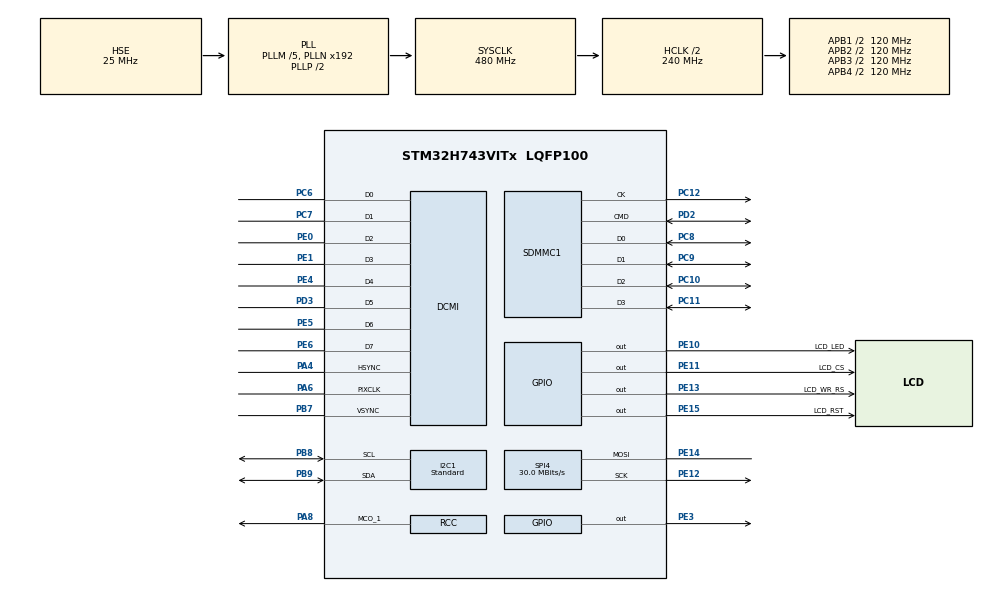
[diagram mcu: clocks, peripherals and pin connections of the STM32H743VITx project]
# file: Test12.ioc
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CORTEX_M7.AccessPermission_S-Cortex_Memory_Protection_Unit_Region1_Settings_S=MPU_REGION_FULL_ACCESS
CORTEX_M7.AccessPermission_Spec=MPU_REGION_FULL_ACCESS
CORTEX_M7.BaseAddress_S-Cortex_Memory_Protection_Unit_Region1_Settings_S=0x30000000
CORTEX_M7.BaseAddress_Spec=0x24000000
CORTEX_M7.DisableExec_Spec=MPU_INSTRUCTION_ACCESS_DISABLE
CORTEX_M7.Enable_S-Cortex_Memory_Protection_Unit_Region1_Settings_S=MPU_REGION_ENABLE
CORTEX_M7.Enable_S-Cortex_Memory_Protection_Unit_Region2_Settings_S=__NULL
CORTEX_M7.Enable_S-Cortex_Memory_Protection_Unit_Region3_Settings_S=__NULL
CORTEX_M7.Enable_S-Cortex_Memory_Protection_Unit_Region4_Settings_S=__NULL
CORTEX_M7.Enable_S-Cortex_Memory_Protection_Unit_Region5_Settings_S=__NULL
CORTEX_M7.Enable_S-Cortex_Memory_Protection_Unit_Region6_Settings_S=__NULL
CORTEX_M7.Enable_Spec=MPU_REGION_ENABLE
CORTEX_M7.IsBufferable_S-Cortex_Memory_Protection_Unit_Region1_Settings_S=MPU_ACCESS_BUFFERABLE
CORTEX_M7.IsBufferable_Spec=MPU_ACCESS_NOT_BUFFERABLE
CORTEX_M7.IsCacheable_S-Cortex_Memory_Protection_Unit_Region1_Settings_S=MPU_ACCESS_CACHEABLE
CORTEX_M7.IsCacheable_Spec=MPU_ACCESS_NOT_CACHEABLE
CORTEX_M7.IsShareable_Spec=MPU_ACCESS_NOT_SHAREABLE
CORTEX_M7.MPU_Control=MPU_PRIVILEGED_DEFAULT
CORTEX_M7.Size_S-Cortex_Memory_Protection_Unit_Region1_Settings_S=MPU_REGION_SIZE_256KB
CORTEX_M7.Size_Spec=MPU_REGION_SIZE_512KB
CORTEX_M7.SubRegionDisable_Spec=0x00
CORTEX_M7.default_mode_Activation=1
DCMI.HSPolarity=DCMI_HSPOLARITY_LOW
DCMI.PCKPolarity=DCMI_PCKPOLARITY_RISING
DCMI.VSPolarity=DCMI_VSPOLARITY_HIGH
Dma.DCMI.0.Direction=DMA_PERIPH_TO_MEMORY
Dma.DCMI.0.EventEnable=DISABLE
Dma.DCMI.0.FIFOMode=DMA_FIFOMODE_DISABLE
Dma.DCMI.0.Instance=DMA1_Stream0
Dma.DCMI.0.MemDataAlignment=DMA_MDATAALIGN_WORD
Dma.DCMI.0.MemInc=DMA_MINC_ENABLE
Dma.DCMI.0.Mode=DMA_NORMAL
Dma.DCMI.0.PeriphDataAlignment=DMA_PDATAALIGN_WORD
Dma.DCMI.0.PeriphInc=DMA_PINC_DISABLE
Dma.DCMI.0.Polarity=HAL_DMAMUX_REQ_GEN_RISING
Dma.DCMI.0.Priority=DMA_PRIORITY_VERY_HIGH
Dma.DCMI.0.RequestNumber=1
Dma.DCMI.0.SignalID=NONE
Dma.DCMI.0.SyncEnable=ENABLE
Dma.DCMI.0.SyncPolarity=HAL_DMAMUX_SYNC_RISING
Dma.DCMI.0.SyncRequestNumber=1
Dma.DCMI.0.SyncSignalID=NONE
Dma.Request0=DCMI
I2C1.CustomTiming=Disabled
I2C1.I2C_Fall_Time=10
I2C1.I2C_Rise_Time=100
I2C1.I2C_Speed_Mode=I2C_Standard
I2C1.Timing=0x40805E8A
Mcu.Family=STM32H7
Mcu.Name=STM32H743VITx
Mcu.Package=LQFP100
NVIC.DCMI_IRQn=true\:2\:0\:true\:false\:true\:true\:true\:true
NVIC.DMA1_Stream0_IRQn=true\:1\:0\:true\:false\:true\:true\:true\:true
NVIC.DMAMUX1_OVR_IRQn=true\:0\:0\:false\:false\:true\:false\:true\:true
NVIC.FLASH_IRQn=true\:3\:0\:true\:false\:true\:true\:true\:true
NVIC.FPU_IRQn=true\:3\:0\:true\:false\:true\:true\:false\:true
NVIC.PriorityGroup=NVIC_PRIORITYGROUP_4
NVIC.RCC_IRQn=true\:0\:0\:false\:false\:true\:true\:false\:true
NVIC.SPI4_IRQn=true\:5\:0\:true\:false\:true\:true\:true\:true
PA13\ (JTMS/SWDIO).Mode=Serial_Wire
PA13\ (JTMS/SWDIO).Signal=DEBUG_JTMS-SWDIO
PA14\ (JTCK/SWCLK).Mode=Serial_Wire
PA14\ (JTCK/SWCLK).Signal=DEBUG_JTCK-SWCLK
PA4.GPIO_Speed=GPIO_SPEED_FREQ_HIGH
PA4.Mode=Slave_8_bits_External_Synchro
PA4.Signal=DCMI_HSYNC
PA6.GPIO_Speed=GPIO_SPEED_FREQ_VERY_HIGH
PA6.Mode=Slave_8_bits_External_Synchro
PA6.Signal=DCMI_PIXCLK
PA8.GPIO_Speed=GPIO_SPEED_FREQ_VERY_HIGH
PA8.Mode=Clock-out-1
PA8.Signal=RCC_MCO_1
PB7.GPIO_FM7=__NULL
PB7.GPIO_Speed=GPIO_SPEED_FREQ_HIGH
PB7.Mode=Slave_8_bits_External_Synchro
PB7.Signal=DCMI_VSYNC
PB8.GPIO_Pu=GPIO_PULLUP
PB8.Mode=I2C
PB8.Signal=I2C1_SCL
PB9.GPIO_Pu=GPIO_PULLUP
PB9.Mode=I2C
PB9.Signal=I2C1_SDA
PC10.Mode=SD_4_bits_Wide_bus
PC10.Signal=SDMMC1_D2
PC11.Mode=SD_4_bits_Wide_bus
PC11.Signal=SDMMC1_D3
PC12.Mode=SD_4_bits_Wide_bus
PC12.Signal=SDMMC1_CK
PC6.GPIO_PuPd=GPIO_PULLUP
PC6.GPIO_Speed=GPIO_SPEED_FREQ_LOW
PC6.Mode=Slave_8_bits_External_Synchro
PC6.Signal=DCMI_D0
PC7.GPIO_PuPd=GPIO_PULLUP
PC7.GPIO_Speed=GPIO_SPEED_FREQ_LOW
PC7.Mode=Slave_8_bits_External_Synchro
PC7.Signal=DCMI_D1
PC8.Mode=SD_4_bits_Wide_bus
PC8.Signal=SDMMC1_D0
PC9.Mode=SD_4_bits_Wide_bus
PC9.Signal=SDMMC1_D1
PD2.Mode=SD_4_bits_Wide_bus
PD2.Signal=SDMMC1_CMD
PD3.GPIO_PuPd=GPIO_PULLUP
PD3.GPIO_Speed=GPIO_SPEED_FREQ_LOW
PD3.Mode=Slave_8_bits_External_Synchro
PD3.Signal=DCMI_D5
PE0.GPIO_PuPd=GPIO_PULLUP
PE0.GPIO_Speed=GPIO_SPEED_FREQ_LOW
PE0.Mode=Slave_8_bits_External_Synchro
PE0.Signal=DCMI_D2
PE1.GPIO_PuPd=GPIO_PULLUP
PE1.GPIO_Speed=GPIO_SPEED_FREQ_LOW
PE1.Mode=Slave_8_bits_External_Synchro
PE1.Signal=DCMI_D3
PE10.GPIO_Label=LCD_LED
PE10.GPIO_PuPd=GPIO_NOPULL
PE10.GPIO_Speed=GPIO_SPEED_FREQ_LOW
PE10.Signal=GPIO_Output
PE11.GPIO_Label=LCD_CS
PE11.GPIO_PuPd=GPIO_PULLUP
PE11.GPIO_Speed=GPIO_SPEED_FREQ_VERY_HIGH
PE11.PinState=GPIO_PIN_SET
PE11.Signal=GPIO_Output
PE12.GPIO_Speed=GPIO_SPEED_FREQ_HIGH
PE12.Mode=Simplex_Bidirectional_Master
PE12.Signal=SPI4_SCK
PE13.GPIO_Label=LCD_WR_RS
PE13.GPIO_Speed=GPIO_SPEED_FREQ_VERY_HIGH
PE13.PinState=GPIO_PIN_SET
PE13.Signal=GPIO_Output
PE14.GPIO_Speed=GPIO_SPEED_FREQ_HIGH
PE14.Mode=Simplex_Bidirectional_Master
PE14.Signal=SPI4_MOSI
PE15.GPIO_Label=LCD_RST
PE15.GPIO_PuPd=GPIO_NOPULL
PE15.GPIO_Speed=GPIO_SPEED_FREQ_HIGH
PE15.PinState=GPIO_PIN_RESET
PE15.Signal=GPIO_Output
PE3.Signal=GPIO_Output
PE4.GPIO_PuPd=GPIO_PULLUP
PE4.GPIO_Speed=GPIO_SPEED_FREQ_LOW
PE4.Mode=Slave_8_bits_External_Synchro
PE4.Signal=DCMI_D4
PE5.GPIO_PuPd=GPIO_PULLUP
PE5.GPIO_Speed=GPIO_SPEED_FREQ_LOW
PE5.Mode=Slave_8_bits_External_Synchro
PE5.Signal=DCMI_D6
PE6.GPIO_PuPd=GPIO_PULLUP
PE6.GPIO_Speed=GPIO_SPEED_FREQ_LOW
PE6.Mode=Slave_8_bits_External_Synchro
PE6.Signal=DCMI_D7
PH0-OSC_IN\ (PH0).Mode=HSE-External-Oscillator
PH0-OSC_IN\ (PH0).Signal=RCC_OSC_IN
PH1-OSC_OUT\ (PH1).Mode=HSE-External-Oscillator
PH1-OSC_OUT\ (PH1).Signal=RCC_OSC_OUT
ProjectManager.HeapSize=0x200
ProjectManager.StackSize=0x400
ProjectManager.TargetToolchain=STM32CubeIDE
RCC.ADCFreq_Value=100000000
RCC.APB1Freq_Value=120000000
RCC.APB2Freq_Value=120000000
RCC.APB3Freq_Value=120000000
RCC.APB4Freq_Value=120000000
RCC.CortexFreq_Value=480000000
RCC.D1PPRE=RCC_APB3_DIV2
RCC.D2PPRE1=RCC_APB1_DIV2
RCC.D2PPRE2=RCC_APB2_DIV2
RCC.D3PPRE=RCC_APB4_DIV2
RCC.DIVM1=5
RCC.DIVM2=10
RCC.DIVM3=5
RCC.DIVN1=192
RCC.DIVN2=80
RCC.DIVN3=32
RCC.DIVQ1=8
RCC.DIVR1=4
RCC.DIVR3=8
RCC.HCLKFreq_Value=240000000
RCC.HPRE=RCC_HCLK_DIV2
RCC.HSE_Timout=1000
RCC.HSE_VALUE=25000000
RCC.PLL3FRACN=0
RCC.PLLSourceVirtual=RCC_PLLSOURCE_HSE
RCC.RCC_MCO1Source=RCC_MCO1SOURCE_HSE
RCC.RCC_MCO2Source=RCC_MCO2SOURCE_PLL2PCLK
RCC.RCC_MCODiv2=RCC_MCODIV_5
RCC.RCC_RTC_Clock_Source_FROM_HSE=RCC_RTCCLKSOURCE_HSE_DIV49
RCC.RCC_TIM_PRescaler_Selection=RCC_TIMPRES_ACTIVATED
RCC.SYSCLKFreq_VALUE=480000000
RCC.SYSCLKSource=RCC_SYSCLKSOURCE_PLLCLK
RCC.USBFreq_Value=120000000
SPI4.BaudRatePrescaler=SPI_BAUDRATEPRESCALER_4
SPI4.CalculateBaudRate=30.0 MBits/s
SPI4.DataSize=SPI_DATASIZE_8BIT
SPI4.Direction=SPI_DIRECTION_1LINE
SPI4.Mode=SPI_MODE_MASTER
SPI4.VirtualType=VM_MASTER
VP_MEMORYMAP_VS_MEMORYMAP.Mode=CurAppReg
VP_RTC_VS_RTC_Activate.Mode=RTC_Enabled
VP_RTC_VS_RTC_Calendar.Mode=RTC_Calendar
board=custom

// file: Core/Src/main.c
/* USER CODE BEGIN Header */
/**
  ******************************************************************************
  * @file           : main.c
  * @brief          : Main program body
  ******************************************************************************
  * @attention
  *
  * Copyright (c) 2026 STMicroelectronics.
  * All rights reserved.
  *
  * This software is licensed under terms that can be found in the LICENSE file
  * in the root directory of this software component.
  * If no LICENSE file comes with this software, it is provided AS-IS.
  *
  ******************************************************************************
  */
/* USER CODE END Header */
#include "main.h"
#include "dcmi.h"
#include "dma.h"
#include "i2c.h"
#include "rtc.h"
#include "sdmmc.h"
#include "spi.h"
#include "gpio.h"

/* USER CODE BEGIN Includes */

#include "ov5640.h"
#include <stdio.h>
#include <string.h>
#include <stdbool.h>
#include "st7735.h"
#include "rgb_convert.h"

/* USER CODE END Includes */

/* USER CODE BEGIN PV */

volatile uint8_t g_frame_capture_complete = 0;

/* USER CODE END PV */

void SystemClock_Config(void);
void PeriphCommonClock_Config(void);
static void MPU_Config(void);

/* USER CODE BEGIN 0 */

uint16_t line_count = 0;
uint32_t frame_count = 0;
uint32_t vsync_count = 0;
volatile uint32_t dbg_lines_per_frame;
volatile uint32_t dbg_vsync_per_frame;

/**
 * Ищет первое 32-битное слово, равное нулю.
 *
 * @param buffer  Указатель на массив
 * @param size    Количество слов
 * @param index   [out] Индекс найденного слова
 * @return true, если ноль найден; false, если нет
 */
bool find_first_zero_word(const uint32_t *buffer, uint32_t size, uint32_t *index)
{
    for (uint32_t i = 0; i < size; i++)
    {
        if (buffer[i] == 0)
        {
            *index = i;
            return true;
        }
    }
    return false;
}

/**
  * @brief Обработчик завершения DMA для DCMI
  * HAL вызовет эту функцию, когда передача данных закончится
  */
void HAL_DCMI_FrameEventCallback(DCMI_HandleTypeDef *hdcmi) {
    frame_count++;
    g_frame_capture_complete = 1;
    HAL_DCMI_Stop(hdcmi);   // остановить всё чисто

}

/**
  * @brief Обработчик ошибок DCMI
  */
volatile uint8_t g_camera_error = 0;

void HAL_DCMI_ErrorCallback(DCMI_HandleTypeDef *hdcmi) {
    // Можно зажечь светодиод ошибки или вывести сообщение в UART
    // Error handler
    //g_frame_capture_complete = 0xFF; // Специальное значение для ошибки
	g_camera_error ++;
}

// Добавим DMA callback для отладки
void HAL_DCMI_LineEventCallback (DCMI_HandleTypeDef *hdcmi) {
    // Этот коллбэк вызывается на каждую строку
	line_count++;

}

void HAL_DCMI_VsyncEventCallback(DCMI_HandleTypeDef *hdcmi) {
    // Этот колбэк должен вызываться на каждый VSYNC
    vsync_count++;
}

/* USER CODE END 0 */

int main(void)
{

  /* MPU Configuration--------------------------------------------------------*/
  MPU_Config();

  /* MCU Configuration--------------------------------------------------------*/

  /* Reset of all peripherals, Initializes the Flash interface and the Systick. */
  HAL_Init();

  /* Configure the system clock */
  SystemClock_Config();

  /* Configure the peripherals common clocks */
  PeriphCommonClock_Config();

  /* Initialize all configured peripherals */
  MX_GPIO_Init();
  MX_DMA_Init();
  MX_DCMI_Init();
  MX_RTC_Init();
  MX_I2C1_Init();
  MX_SPI4_Init();
  MX_SDMMC1_SD_Init();
  /* USER CODE BEGIN 2 */

  // 2. Инициализация дисплея
      ST7735_BL_ON();
      ST7735_Init();
      ST7735_FillScreen(ST7735_BLACK);
      ST7735_DisplayString(10, 10, "Init display...", ST7735_WHITE, ST7735_BLACK);

      // 4. Инициализация камеры
      ST7735_DisplayString(10, 30, "Init camera...", ST7735_WHITE, ST7735_BLACK);
      if (OV5640_Init() != 0) {
          ST7735_DisplayString(10, 50, "Camera FAIL!", ST7735_WHITE, ST7735_BLACK);
          Error_Handler();
      }

      // 5. Запуск захвата
      ST7735_DisplayString(10, 70, "Start capture...", ST7735_WHITE, ST7735_BLACK);

      //  Обнулим буфер изображения перед использованием
      memset(g_camera_frame, 0, sizeof(g_camera_frame));
//      memset(g_camera_frame, 0xA5, sizeof(g_camera_frame));

      OV5640_StartCapture();

  /* USER CODE END 2 */

  /* Infinite loop */
  while (1)
  {

    /* USER CODE BEGIN 3 */

	    if (g_frame_capture_complete) {
	        g_frame_capture_complete = 0;

	        raw8_bggr_to_rgb565(g_camera_frame, rgb_buffer, 500, 500);
	        // Обновить дисплей
	        ST7735_DrawImage(20, 20, 50, 50,  rgb_buffer);

	        // Небольшая задержка для визуального восприятия
	        //HAL_Delay(50);

	        //  Обнулим буфер изображения перед использованием
	        //memset(g_camera_frame, 0, sizeof(g_camera_frame));

	        // Перезапустить захват, если он остановился
	        OV5640_StartCapture();
	    }

  }

  /* USER CODE END 3 */
}

void SystemClock_Config(void)
{
  RCC_OscInitTypeDef RCC_OscInitStruct = {0};
  RCC_ClkInitTypeDef RCC_ClkInitStruct = {0};

  /** Supply configuration update enable
  */
  HAL_PWREx_ConfigSupply(PWR_LDO_SUPPLY);

  /** Configure the main internal regulator output voltage
  */
  __HAL_PWR_VOLTAGESCALING_CONFIG(PWR_REGULATOR_VOLTAGE_SCALE0);

  while(!__HAL_PWR_GET_FLAG(PWR_FLAG_VOSRDY)) {}

  /** Initializes the RCC Oscillators according to the specified parameters
  * in the RCC_OscInitTypeDef structure.
  */
  RCC_OscInitStruct.OscillatorType = RCC_OSCILLATORTYPE_LSI|RCC_OSCILLATORTYPE_HSE;
  RCC_OscInitStruct.HSEState = RCC_HSE_ON;
  RCC_OscInitStruct.LSIState = RCC_LSI_ON;
  RCC_OscInitStruct.PLL.PLLState = RCC_PLL_ON;
  RCC_OscInitStruct.PLL.PLLSource = RCC_PLLSOURCE_HSE;
  RCC_OscInitStruct.PLL.PLLM = 5;
  RCC_OscInitStruct.PLL.PLLN = 192;
  RCC_OscInitStruct.PLL.PLLP = 2;
  RCC_OscInitStruct.PLL.PLLQ = 8;
  RCC_OscInitStruct.PLL.PLLR = 4;
  RCC_OscInitStruct.PLL.PLLRGE = RCC_PLL1VCIRANGE_2;
  RCC_OscInitStruct.PLL.PLLVCOSEL = RCC_PLL1VCOWIDE;
  RCC_OscInitStruct.PLL.PLLFRACN = 0;
  if (HAL_RCC_OscConfig(&RCC_OscInitStruct) != HAL_OK)
  {
    Error_Handler();
  }

  /** Initializes the CPU, AHB and APB buses clocks
  */
  RCC_ClkInitStruct.ClockType = RCC_CLOCKTYPE_HCLK|RCC_CLOCKTYPE_SYSCLK
                              |RCC_CLOCKTYPE_PCLK1|RCC_CLOCKTYPE_PCLK2
                              |RCC_CLOCKTYPE_D3PCLK1|RCC_CLOCKTYPE_D1PCLK1;
  RCC_ClkInitStruct.SYSCLKSource = RCC_SYSCLKSOURCE_PLLCLK;
  RCC_ClkInitStruct.SYSCLKDivider = RCC_SYSCLK_DIV1;
  RCC_ClkInitStruct.AHBCLKDivider = RCC_HCLK_DIV2;
  RCC_ClkInitStruct.APB3CLKDivider = RCC_APB3_DIV2;
  RCC_ClkInitStruct.APB1CLKDivider = RCC_APB1_DIV2;
  RCC_ClkInitStruct.APB2CLKDivider = RCC_APB2_DIV2;
  RCC_ClkInitStruct.APB4CLKDivider = RCC_APB4_DIV2;

  if (HAL_RCC_ClockConfig(&RCC_ClkInitStruct, FLASH_LATENCY_4) != HAL_OK)
  {
    Error_Handler();
  }
  HAL_RCC_MCOConfig(RCC_MCO1, RCC_MCO1SOURCE_HSE, RCC_MCODIV_1);
}

void PeriphCommonClock_Config(void)
{
  RCC_PeriphCLKInitTypeDef PeriphClkInitStruct = {0};

  /** Initializes the peripherals clock
  */
  PeriphClkInitStruct.PeriphClockSelection = RCC_PERIPHCLK_TIM;
  PeriphClkInitStruct.TIMPresSelection = RCC_TIMPRES_ACTIVATED;

  if (HAL_RCCEx_PeriphCLKConfig(&PeriphClkInitStruct) != HAL_OK)
  {
    Error_Handler();
  }
}

 /* MPU Configuration */

void MPU_Config(void)
{
  MPU_Region_InitTypeDef MPU_InitStruct = {0};

  /* Disables the MPU */
  HAL_MPU_Disable();

  /** Initializes and configures the Region and the memory to be protected
  */
  MPU_InitStruct.Enable = MPU_REGION_ENABLE;
  MPU_InitStruct.Number = MPU_REGION_NUMBER0;
  MPU_InitStruct.BaseAddress = 0x24000000;
  MPU_InitStruct.Size = MPU_REGION_SIZE_512KB;
  MPU_InitStruct.SubRegionDisable = 0x00;
  MPU_InitStruct.TypeExtField = MPU_TEX_LEVEL0;
  MPU_InitStruct.AccessPermission = MPU_REGION_FULL_ACCESS;
  MPU_InitStruct.DisableExec = MPU_INSTRUCTION_ACCESS_DISABLE;
  MPU_InitStruct.IsShareable = MPU_ACCESS_NOT_SHAREABLE;
  MPU_InitStruct.IsCacheable = MPU_ACCESS_NOT_CACHEABLE;
  MPU_InitStruct.IsBufferable = MPU_ACCESS_NOT_BUFFERABLE;

  HAL_MPU_ConfigRegion(&MPU_InitStruct);

  /** Initializes and configures the Region and the memory to be protected
  */
  MPU_InitStruct.Number = MPU_REGION_NUMBER1;
  MPU_InitStruct.BaseAddress = 0x30000000;
  MPU_InitStruct.Size = MPU_REGION_SIZE_256KB;
  MPU_InitStruct.SubRegionDisable = 0x0;
  MPU_InitStruct.DisableExec = MPU_INSTRUCTION_ACCESS_ENABLE;
  MPU_InitStruct.IsCacheable = MPU_ACCESS_CACHEABLE;
  MPU_InitStruct.IsBufferable = MPU_ACCESS_BUFFERABLE;

  HAL_MPU_ConfigRegion(&MPU_InitStruct);
  /* Enables the MPU */
  HAL_MPU_Enable(MPU_PRIVILEGED_DEFAULT);

}

void Error_Handler(void)
{
  __disable_irq();
  while (1)
  {
  }
}
